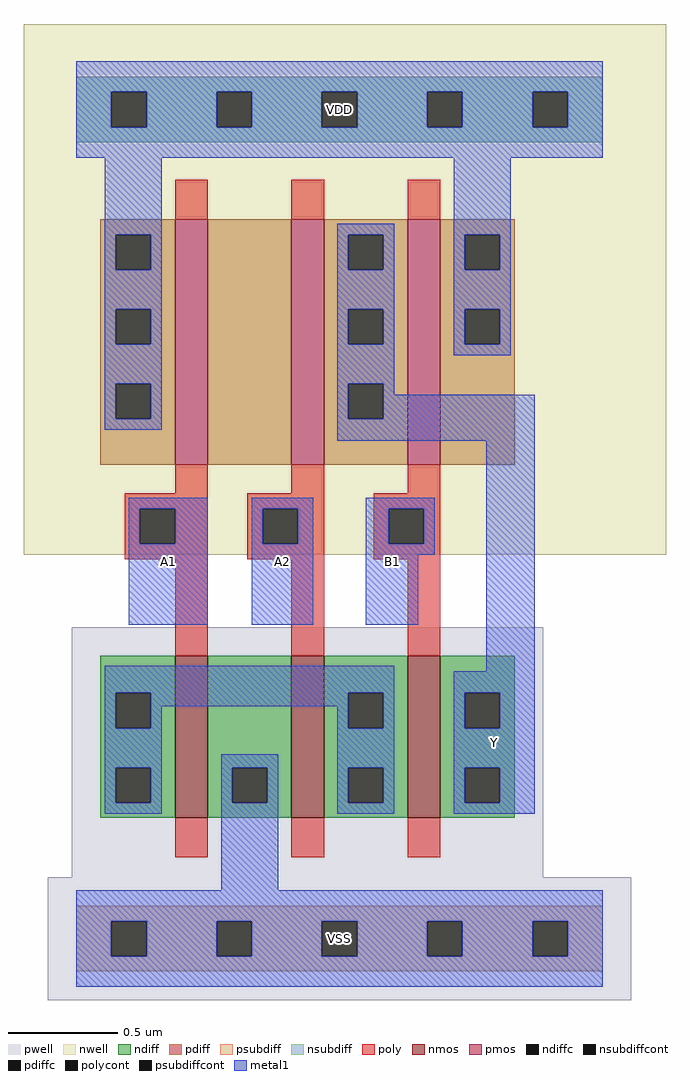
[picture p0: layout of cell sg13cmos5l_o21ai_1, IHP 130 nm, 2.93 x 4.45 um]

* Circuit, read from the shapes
.subckt sg13cmos5l_o21ai_1 VSS VDD Y B1 A2 A1
XM1 VSS A1 n1 VSS sg13_lv_nmos w=0.74u l=0.15u
XM2 n1 A2 VSS VSS sg13_lv_nmos w=0.74u l=0.15u
XM3 Y B1 n1 VSS sg13_lv_nmos w=0.74u l=0.15u
XM4 n2 A1 VDD VDD sg13_lv_pmos w=1.12u l=0.15u
XM5 Y A2 n2 VDD sg13_lv_pmos w=1.12u l=0.15u
XM6 VDD B1 Y VDD sg13_lv_pmos w=1.12u l=0.15u
.ends

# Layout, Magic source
magic
tech ihp-sg13cmos5l
magscale 1 2
<< nwell >>
rect -48 350 538 834
<< pwell >>
rect -4 56 426 284
rect -26 -56 506 56
<< nmos >>
rect 90 110 120 258
rect 196 110 226 258
rect 302 110 332 258
<< pmos >>
rect 90 432 120 656
rect 196 432 226 656
rect 302 432 332 656
<< ndiff >>
rect 22 224 90 258
rect 22 192 36 224
rect 68 192 90 224
rect 22 156 90 192
rect 22 124 36 156
rect 68 124 90 156
rect 22 110 90 124
rect 120 156 196 258
rect 120 124 142 156
rect 174 124 196 156
rect 120 110 196 124
rect 226 224 302 258
rect 226 192 248 224
rect 280 192 302 224
rect 226 156 302 192
rect 226 124 248 156
rect 280 124 302 156
rect 226 110 302 124
rect 332 224 400 258
rect 332 192 354 224
rect 386 192 400 224
rect 332 156 400 192
rect 332 124 354 156
rect 386 124 400 156
rect 332 110 400 124
<< pdiff >>
rect 22 642 90 656
rect 22 610 36 642
rect 68 610 90 642
rect 22 574 90 610
rect 22 542 36 574
rect 68 542 90 574
rect 22 506 90 542
rect 22 474 36 506
rect 68 474 90 506
rect 22 432 90 474
rect 120 432 196 656
rect 226 642 302 656
rect 226 610 248 642
rect 280 610 302 642
rect 226 574 302 610
rect 226 542 248 574
rect 280 542 302 574
rect 226 506 302 542
rect 226 474 248 506
rect 280 474 302 506
rect 226 432 302 474
rect 332 642 400 656
rect 332 610 354 642
rect 386 610 400 642
rect 332 574 400 610
rect 332 542 354 574
rect 386 542 400 574
rect 332 432 400 542
<< ndiffc >>
rect 36 192 68 224
rect 36 124 68 156
rect 142 124 174 156
rect 248 192 280 224
rect 248 124 280 156
rect 354 192 386 224
rect 354 124 386 156
<< pdiffc >>
rect 36 610 68 642
rect 36 542 68 574
rect 36 474 68 506
rect 248 610 280 642
rect 248 542 280 574
rect 248 474 280 506
rect 354 610 386 642
rect 354 542 386 574
<< psubdiff >>
rect 0 16 480 30
rect 0 -16 32 16
rect 64 -16 128 16
rect 160 -16 224 16
rect 256 -16 320 16
rect 352 -16 416 16
rect 448 -16 480 16
rect 0 -30 480 -16
<< nsubdiff >>
rect 0 772 480 786
rect 0 740 32 772
rect 64 740 128 772
rect 160 740 224 772
rect 256 740 320 772
rect 352 740 416 772
rect 448 740 480 772
rect 0 726 480 740
<< psubdiffcont >>
rect 32 -16 64 16
rect 128 -16 160 16
rect 224 -16 256 16
rect 320 -16 352 16
rect 416 -16 448 16
<< nsubdiffcont >>
rect 32 740 64 772
rect 128 740 160 772
rect 224 740 256 772
rect 320 740 352 772
rect 416 740 448 772
<< poly >>
rect 90 656 120 692
rect 196 656 226 692
rect 302 656 332 692
rect 90 406 120 432
rect 196 406 226 432
rect 302 406 332 432
rect 44 392 120 406
rect 44 360 58 392
rect 90 360 120 392
rect 44 346 120 360
rect 156 392 226 406
rect 156 360 170 392
rect 202 360 226 392
rect 156 346 226 360
rect 271 392 332 406
rect 271 360 285 392
rect 317 360 332 392
rect 271 346 332 360
rect 90 258 120 346
rect 196 258 226 346
rect 302 258 332 346
rect 90 74 120 110
rect 196 74 226 110
rect 302 74 332 110
<< polycont >>
rect 58 360 90 392
rect 170 360 202 392
rect 285 360 317 392
<< metal1 >>
rect 0 772 480 800
rect 0 740 32 772
rect 64 740 128 772
rect 160 740 224 772
rect 256 740 320 772
rect 352 740 416 772
rect 448 740 480 772
rect 0 712 480 740
rect 26 642 78 712
rect 26 610 36 642
rect 68 610 78 642
rect 26 574 78 610
rect 26 542 36 574
rect 68 542 78 574
rect 26 506 78 542
rect 26 474 36 506
rect 68 474 78 506
rect 26 464 78 474
rect 238 642 290 652
rect 238 610 248 642
rect 280 610 290 642
rect 238 574 290 610
rect 238 542 248 574
rect 280 542 290 574
rect 238 506 290 542
rect 344 642 396 712
rect 344 610 354 642
rect 386 610 396 642
rect 344 574 396 610
rect 344 542 354 574
rect 386 542 396 574
rect 344 532 396 542
rect 238 474 248 506
rect 280 496 290 506
rect 280 474 418 496
rect 238 454 418 474
rect 48 392 120 402
rect 48 360 58 392
rect 90 360 120 392
rect 48 286 120 360
rect 160 392 216 402
rect 160 360 170 392
rect 202 360 216 392
rect 160 286 216 360
rect 264 392 327 402
rect 264 360 285 392
rect 317 360 327 392
rect 264 350 327 360
rect 264 286 312 350
rect 26 224 290 249
rect 374 244 418 454
rect 26 192 36 224
rect 68 212 248 224
rect 68 192 78 212
rect 26 156 78 192
rect 238 192 248 212
rect 280 192 290 224
rect 26 124 36 156
rect 68 124 78 156
rect 26 114 78 124
rect 132 156 184 168
rect 132 124 142 156
rect 174 124 184 156
rect 132 44 184 124
rect 238 156 290 192
rect 238 124 248 156
rect 280 124 290 156
rect 238 114 290 124
rect 344 224 418 244
rect 344 192 354 224
rect 386 192 418 224
rect 344 156 418 192
rect 344 124 354 156
rect 386 124 418 156
rect 344 114 418 124
rect 0 16 480 44
rect 0 -16 32 16
rect 64 -16 128 16
rect 160 -16 224 16
rect 256 -16 320 16
rect 352 -16 416 16
rect 448 -16 480 16
rect 0 -44 480 -16
<< labels >>
flabel metal1 s 0 -44 480 44 0 FreeSans 400 0 0 0 VSS
port 2 nsew
flabel metal1 s 0 712 480 800 0 FreeSans 400 0 0 0 VDD
port 3 nsew
flabel metal1 s 344 114 418 244 0 FreeSans 800 0 0 0 Y
port 4 nsew
flabel metal1 s 264 286 312 402 0 FreeSans 300 0 0 0 B1
port 5 nsew
flabel metal1 s 160 286 216 402 0 FreeSans 300 0 0 0 A2
port 6 nsew
flabel metal1 s 48 286 120 402 0 FreeSans 300 0 0 0 A1
port 7 nsew
<< properties >>
string FIXED_BBOX 0 0 480 756
string GDS_END 142216
string GDS_FILE pll_digital.gds
string GDS_START 138100
<< end >>
